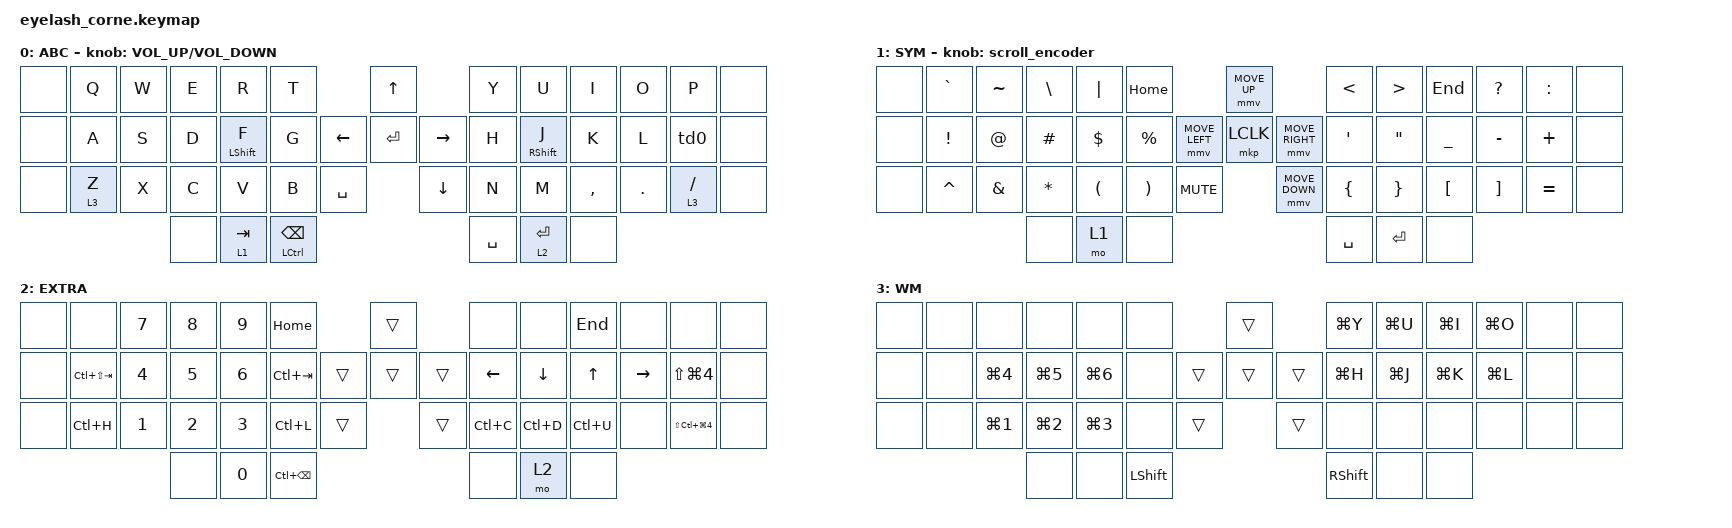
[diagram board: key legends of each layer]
#include <dt-bindings/zmk/mouse.h>
#include <input/processors.dtsi>
#include <behaviors.dtsi>
#include <dt-bindings/zmk/keys.h>
#include <dt-bindings/zmk/pointing.h>

/*

   &mmv_input_listener {
       input-processors = <&zip_xy_scaler 2 1>;
   };

   &msc_input_listener {
       input-processors = <&zip_xy_scaler 2 1>;
   };

 */

#define ZMK_MOUSE_DEFAULT_MOVE_VAL 1200  // 600
#define ZMK_MOUSE_DEFAULT_SCRL_VAL 20    // 10

&mt { tapping-term-ms = <150>; };

&lt { tapping-term-ms = <150>; };

/ {
    behaviors {
        td0: td0 {
            compatible = "zmk,behavior-tap-dance";
            display-name = "Shift/Caps Lock Tap Dance";
            #binding-cells = <0>;
            bindings = <&kp SEMICOLON>, <&caps_word>;

            tapping-term-ms = <150>;
        };

        modtapbalance: modtapbalance {
            compatible = "zmk,behavior-hold-tap";
            label = "MODTAPBALANCE";
            bindings = <&kp>, <&kp>;

            #binding-cells = <2>;
            tapping-term-ms = <160>;
            flavor = "balanced";
        };

        layertapbalance: layertapbalance {
            compatible = "zmk,behavior-hold-tap";
            label = "LAYERTAPBALANCE";
            bindings = <&mo>, <&kp>;

            #binding-cells = <2>;
            tapping-term-ms = <160>;
            flavor = "balanced";
        };
    };

    scroll_encoder: scroll_encoder {
        compatible = "zmk,behavior-sensor-rotate";
        #sensor-binding-cells = <0>;
        bindings = <&msc SCRL_DOWN>, <&msc SCRL_UP>;

        tap-ms = <30>;
    };

    combos {
        compatible = "zmk,combos";

        combo_esc {
            bindings = <&kp ESCAPE>;
            key-positions = <16 17>;
            layers = <0>;
            timeout-ms = <50>;
        };
    };

    keymap {
        compatible = "zmk,keymap";

        abc_layer {
            display-name = "ABC";
            bindings = <
&none  &kp Q                 &kp W  &kp E  &kp R                        &kp T                                                  &kp UP                &kp Y      &kp U                         &kp I      &kp O    &kp P                     &none
&none  &kp A                 &kp S  &kp D  &modtapbalance LEFT_SHIFT F  &kp G                                        &kp LEFT  &kp ENTER  &kp RIGHT  &kp H      &modtapbalance RIGHT_SHIFT J  &kp K      &kp L    &td0                      &none
&none  &layertapbalance 3 Z  &kp X  &kp C  &kp V                        &kp B                           &kp SPACE              &kp DOWN              &kp N      &kp M                         &kp COMMA  &kp DOT  &layertapbalance 3 SLASH  &none
                                    &none  &lt 1 TAB                    &modtapbalance LCTRL BACKSPACE                                               &kp SPACE  &lt 2 ENTER                   &none
            >;

            sensor-bindings = <&inc_dec_kp C_VOLUME_UP C_VOLUME_DOWN>;
        };

        symbol_layer {
            display-name = "SYM";
            bindings = <
&none  &kp GRAVE        &kp TILDE      &kp BACKSLASH  &kp PIPE              &kp HOME                                             &mmv MOVE_UP                     &kp LESS_THAN     &kp GREATER_THAN   &kp END           &kp QUESTION       &kp COLON  &none
&none  &kp EXCLAMATION  &kp AT_SIGN    &kp HASH       &kp DOLLAR            &kp PERCENT                          &mmv MOVE_LEFT  &mkp LCLK       &mmv MOVE_RIGHT  &kp SINGLE_QUOTE  &kp DOUBLE_QUOTES  &kp UNDERSCORE    &kp MINUS          &kp PLUS   &none
&none  &kp CARET        &kp AMPERSAND  &kp ASTERISK   &kp LEFT_PARENTHESIS  &kp RIGHT_PARENTHESIS  &kp C_MUTE                    &mmv MOVE_DOWN                   &kp LEFT_BRACE    &kp RIGHT_BRACE    &kp LEFT_BRACKET  &kp RIGHT_BRACKET  &kp EQUAL  &none
                                       &none          &mo 1                 &none                                                                                 &kp SPACE         &kp ENTER          &none
            >;

            sensor-bindings = <&scroll_encoder>;
        };

        extra_layer {
            bindings = <
&none  &none            &kp N7        &kp N8        &kp N9        &kp HOME                             &trans          &none      &none      &kp END    &none      &none                     &none
&none  &kp LC(LS(TAB))  &kp NUMBER_4  &kp N5        &kp NUMBER_6  &kp LC(TAB)                  &trans  &trans  &trans  &kp LEFT   &kp DOWN   &kp UP     &kp RIGHT  &kp LS(LG(NUMBER_4))      &none
&none  &kp LC(H)        &kp NUMBER_1  &kp NUMBER_2  &kp NUMBER_3  &kp LC(L)          &trans            &trans          &kp LC(C)  &kp LC(D)  &kp LC(U)  &none      &kp LS(LC(LG(NUMBER_4)))  &none
                                      &none         &kp N0        &kp LC(BACKSPACE)                                    &none      &mo 2      &none
            >;

            label = "EXTRA";
        };

        window_manager {
            bindings = <
&none  &none  &none             &none             &none             &none                             &trans          &kp LG(Y)        &kp LG(U)  &kp LG(I)  &kp LG(O)  &none  &none
&none  &none  &kp LG(NUMBER_4)  &kp LG(N5)        &kp LG(NUMBER_6)  &none                     &trans  &trans  &trans  &kp LG(H)        &kp LG(J)  &kp LG(K)  &kp LG(L)  &none  &none
&none  &none  &kp LG(NUMBER_1)  &kp LG(NUMBER_2)  &kp LG(NUMBER_3)  &none           &trans            &trans          &none            &none      &none      &none      &none  &none
                                &none             &none             &kp LEFT_SHIFT                                    &kp RIGHT_SHIFT  &none      &none
            >;

            label = "WM";
        };
    };
};
